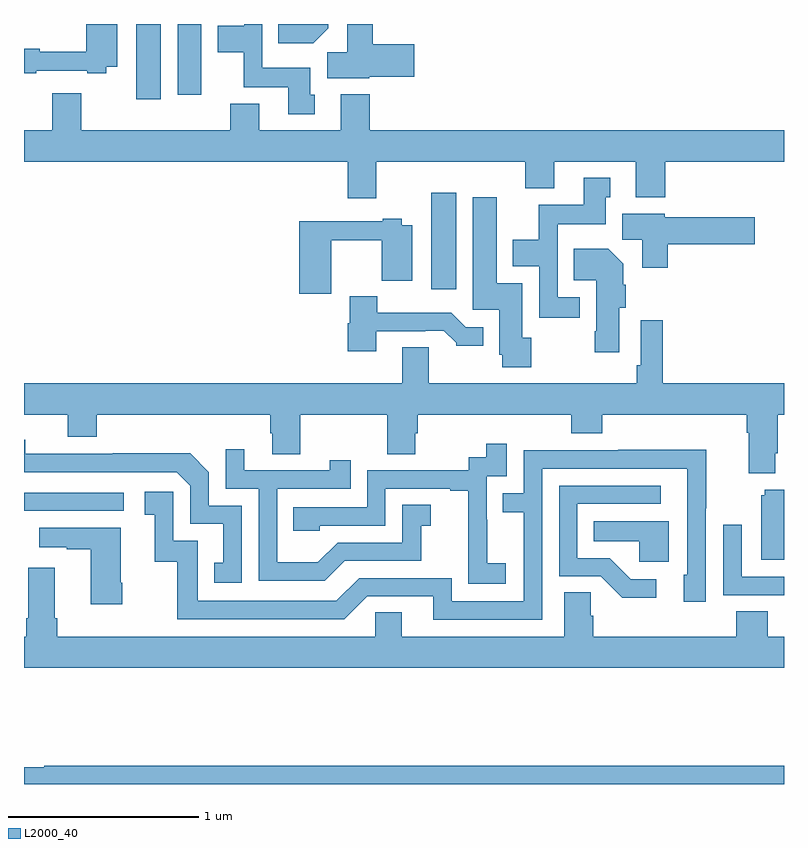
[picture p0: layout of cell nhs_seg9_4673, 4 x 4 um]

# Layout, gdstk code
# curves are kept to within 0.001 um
import gdstk
lib = gdstk.Library(unit=1e-6, precision=1e-09)
def R(c, l, rs):  # rectangles x0, y0, x1, y1
    for r in rs: c.add(gdstk.rectangle(r[:2], r[2:], *l))
def P(c, l, *ps):  # polygons
    for p in ps: c.add(gdstk.Polygon(p, *l))
L2000_40 = (2000, 40)

nhs_seg9_4673 = lib.new_cell('nhs_seg9_4673')
R(nhs_seg9_4673, L2000_40, [(381,1171.938,381.526,1172.034), (383.144,1173.105,383.275,1173.613), (381.59,1174.104,381.721,1174.5), (381.809,1174.128,381.934,1174.5)])
P(nhs_seg9_4673, L2000_40, [(382.6,1174.478),(382.6,1174.5),(382.339,1174.5),(382.339,1174.4),(382.522,1174.4)],
  [(381.065,1174.254),(381.332,1174.254),(381.332,1174.242),(381.432,1174.242),(381.432,1174.274),(381.49,1174.274),(381.49,1174.5),(381.328,1174.5),(381.328,1174.355),(381.084,1174.355),(381.084,1174.37),(381,1174.37),(381,1174.242),(381.065,1174.242)],
  [(382.818,1174.223),(383.053,1174.223),(383.053,1174.394),(382.835,1174.394),(382.835,1174.5),(382.7,1174.5),(382.7,1174.352),(382.595,1174.352),(382.595,1174.214),(382.818,1174.214)],
  [(382.531,1174.128),(382.507,1174.128),(382.507,1174.27),(382.254,1174.27),(382.254,1174.5),(382.158,1174.5),(382.158,1174.492),(382.019,1174.492),(382.019,1174.352),(382.156,1174.352),(382.156,1174.166),(382.391,1174.166),(382.391,1174.026),(382.531,1174.026)],
  [(382.855,1173.776),(383.639,1173.776),(383.639,1173.635),(383.791,1173.635),(383.791,1173.776),(384.221,1173.776),(384.221,1173.587),(384.374,1173.587),(384.374,1173.776),(385,1173.776),(385,1173.94),(382.82,1173.94),(382.82,1174.129),(382.667,1174.129),(382.667,1173.94),(382.237,1173.94),(382.237,1174.081),(382.085,1174.081),(382.085,1173.94),(381.301,1173.94),(381.301,1174.135),(381.149,1174.135),(381.149,1173.94),(381,1173.94),(381,1173.776),(382.703,1173.776),(382.703,1173.582),(382.855,1173.582)],
  [(383.926,1173.063),(383.808,1173.063),(383.808,1173.446),(384.061,1173.446),(384.061,1173.588),(384.085,1173.588),(384.085,1173.691),(383.945,1173.691),(383.945,1173.55),(383.71,1173.55),(383.71,1173.364),(383.573,1173.364),(383.573,1173.224),(383.712,1173.224),(383.712,1172.955),(383.926,1172.955)],
  [(383.67,1172.85),(383.623,1172.85),(383.623,1173.136),(383.488,1173.136),(383.488,1173.589),(383.363,1173.589),(383.363,1172.997),(383.501,1172.997),(383.501,1172.76),(383.518,1172.76),(383.518,1172.694),(383.67,1172.694)],
  [(384.389,1173.341),(384.847,1173.341),(384.847,1173.483),(384.372,1173.483),(384.372,1173.502),(384.149,1173.502),(384.149,1173.364),(384.254,1173.364),(384.254,1173.216),(384.389,1173.216)],
  [(382.618,1173.361),(382.882,1173.361),(382.882,1173.149),(383.044,1173.149),(383.044,1173.442),(382.989,1173.442),(382.989,1173.475),(382.889,1173.475),(382.889,1173.462),(382.448,1173.462),(382.448,1173.081),(382.618,1173.081)],
  [(384.133,1173.006),(384.167,1173.006),(384.167,1173.128),(384.154,1173.128),(384.154,1173.238),(384.076,1173.316),(383.893,1173.316),(383.893,1173.152),(384.011,1173.152),(384.011,1172.884),(384.004,1172.884),(384.004,1172.772),(384.133,1172.772)],
  [(382.855,1172.883),(383.111,1172.883),(383.111,1172.886),(383.21,1172.886),(383.274,1172.822),(383.274,1172.807),(383.416,1172.807),(383.416,1172.904),(383.325,1172.904),(383.249,1172.98),(382.858,1172.98),(382.858,1173.067),(382.715,1173.067),(382.715,1172.925),(382.703,1172.925),(382.703,1172.778),(382.855,1172.778)],
  [(384.955,1172.242),(384.968,1172.242),(384.968,1172.444),(385,1172.444),(385,1172.608),(384.362,1172.608),(384.362,1172.941),(384.246,1172.941),(384.246,1172.704),(384.226,1172.704),(384.226,1172.608),(383.131,1172.608),(383.131,1172.798),(382.991,1172.798),(382.991,1172.608),(381,1172.608),(381,1172.444),(381.23,1172.444),(381.23,1172.327),(381.383,1172.327),(381.383,1172.444),(382.295,1172.444),(382.295,1172.346),(382.307,1172.346),(382.307,1172.236),(382.455,1172.236),(382.455,1172.444),(382.912,1172.444),(382.912,1172.236),(383.059,1172.236),(383.059,1172.346),(383.072,1172.346),(383.072,1172.444),(383.879,1172.444),(383.879,1172.345),(384.044,1172.345),(384.044,1172.444),(384.803,1172.444),(384.803,1172.348),(384.815,1172.348),(384.815,1172.135),(384.955,1172.135)],
  [(382.146,1171.965),(381.972,1171.965),(381.972,1172.142),(381.874,1172.24),(381.466,1172.24),(381.466,1172.238),(381.006,1172.238),(381.006,1172.311),(381,1172.311),(381,1172.142),(381.804,1172.142),(381.876,1172.07),(381.876,1171.869),(382.049,1171.869),(382.049,1171.665),(382,1171.665),(382,1171.56),(382.146,1171.56)],
  [(383.536,1171.663),(383.438,1171.663),(383.438,1171.892),(383.436,1171.892),(383.436,1172.121),(383.541,1172.121),(383.541,1172.29),(383.433,1172.29),(383.433,1172.22),(383.34,1172.22),(383.34,1172.151),(382.806,1172.151),(382.806,1171.956),(382.417,1171.956),(382.417,1171.833),(382.557,1171.833),(382.557,1171.86),(382.902,1171.86),(382.902,1172.055),(383.243,1172.055),(383.243,1172.043),(383.339,1172.043),(383.339,1171.759),(383.338,1171.759),(383.338,1171.553),(383.536,1171.553)],
  [(382.687,1171.674),(383.091,1171.674),(383.091,1171.859),(383.14,1171.859),(383.14,1171.969),(382.992,1171.969),(382.992,1171.77),(382.65,1171.77),(382.546,1171.666),(382.332,1171.666),(382.332,1172.055),(382.721,1172.055),(382.721,1172.203),(382.61,1172.203),(382.61,1172.151),(382.159,1172.151),(382.159,1172.263),(382.062,1172.263),(382.062,1172.055),(382.236,1172.055),(382.236,1171.569),(382.582,1171.569)],
  [(383.727,1172.16),(384.491,1172.16),(384.492,1171.602),(384.473,1171.602),(384.473,1171.458),(384.588,1171.458),(384.588,1171.951),(384.591,1171.951),(384.591,1172.258),(384.127,1172.258),(384.127,1172.256),(383.631,1172.256),(383.631,1172.031),(383.521,1172.031),(383.521,1171.93),(383.631,1171.93),(383.631,1171.461),(383.25,1171.461),(383.25,1171.584),(382.764,1171.584),(382.644,1171.464),(381.915,1171.464),(381.915,1171.779),(381.786,1171.779),(381.786,1172.038),(381.636,1172.038),(381.636,1171.917),(381.689,1171.917),(381.689,1171.671),(381.807,1171.671),(381.807,1171.368),(382.686,1171.368),(382.806,1171.488),(383.153,1171.488),(383.153,1171.365),(383.727,1171.365)],
  [(384.328,1171.578),(384.193,1171.578),(384.082,1171.689),(383.913,1171.689),(383.913,1171.974),(384.352,1171.974),(384.352,1172.07),(383.817,1172.07),(383.817,1171.593),(384.036,1171.593),(384.149,1171.481),(384.328,1171.481)],
  [(385,1172.05),(384.899,1172.05),(384.899,1172.019),(384.881,1172.019),(384.881,1171.679),(385,1171.679)],
  [(384.394,1171.882),(383.998,1171.882),(383.998,1171.778),(384.237,1171.778),(384.237,1171.67),(384.394,1171.67)],
  [(385,1171.59),(384.777,1171.59),(384.777,1171.864),(384.681,1171.864),(384.681,1171.494),(384.997,1171.494),(384.997,1171.493),(385,1171.493)],
  [(381.516,1171.558),(381.508,1171.558),(381.508,1171.849),(381.081,1171.849),(381.081,1171.745),(381.224,1171.745),(381.224,1171.735),(381.35,1171.735),(381.35,1171.446),(381.516,1171.446)],
  [(385,1171.276),(384.914,1171.276),(384.914,1171.409),(384.749,1171.409),(384.749,1171.276),(383.996,1171.276),(383.996,1171.385),(383.982,1171.385),(383.982,1171.508),(383.843,1171.508),(383.843,1171.276),(382.987,1171.276),(382.987,1171.403),(382.848,1171.403),(382.848,1171.276),(381.176,1171.276),(381.176,1171.372),(381.163,1171.372),(381.163,1171.639),(381.023,1171.639),(381.023,1171.372),(381.011,1171.372),(381.011,1171.276),(381,1171.276),(381,1171.112),(385,1171.112)],
  [(385,1170.596),(381.107,1170.596),(381.107,1170.589),(381,1170.589),(381,1170.5),(385,1170.5)])

lib.write_gds('nhs_seg9_4673.gds')
